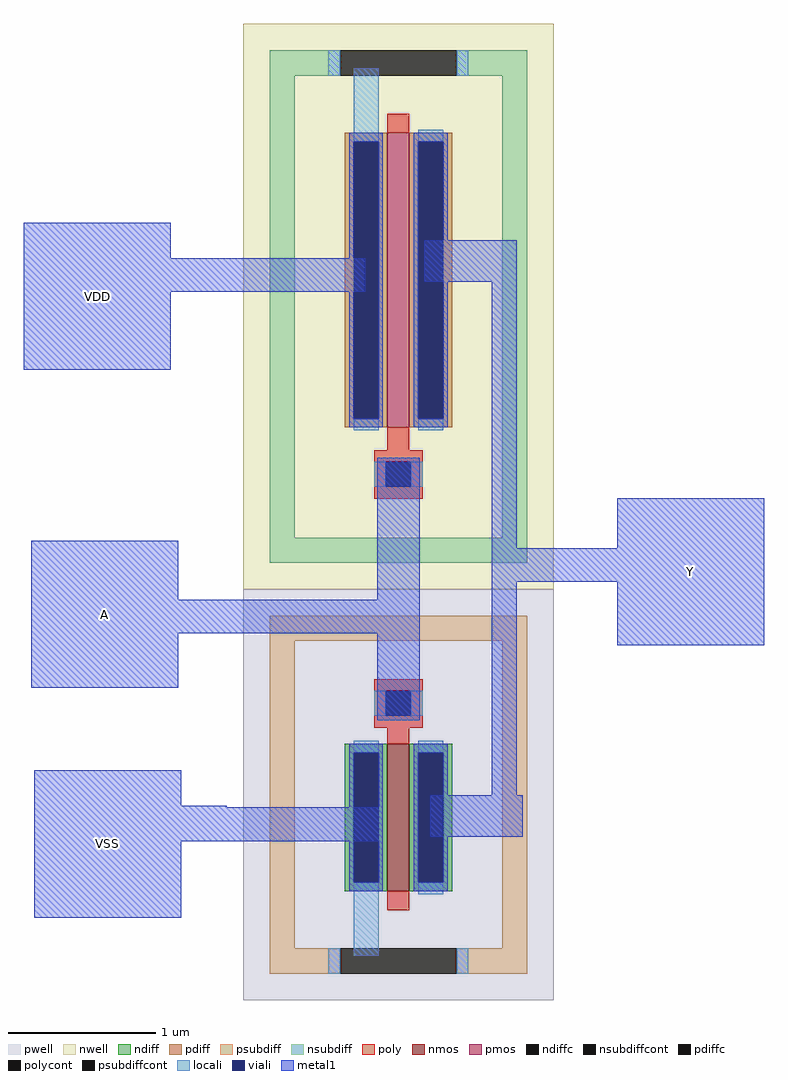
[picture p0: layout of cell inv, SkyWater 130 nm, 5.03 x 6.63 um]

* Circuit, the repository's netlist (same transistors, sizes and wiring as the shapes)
** sch_path: /home/ubuntu/Desktop/design/xschem/inv.sch
.subckt inv A VDD Y VSS
*.PININFO A:B VDD:B Y:B VSS:B
XM1 Y A VSS VSS sky130_fd_pr__nfet_01v8 L=0.15 W=1 nf=1 ad='int((nf+1)/2) * W/nf * 0.29' as='int((nf+2)/2) * W/nf * 0.29'
+ pd='2*int((nf+1)/2) * (W/nf + 0.29)' ps='2*int((nf+2)/2) * (W/nf + 0.29)' nrd='0.29 / W' nrs='0.29 / W'
+ sa=0 sb=0 sd=0 mult=1 m=1
XM2 Y A VDD VDD sky130_fd_pr__pfet_01v8 L=0.15 W=2 nf=1 ad='int((nf+1)/2) * W/nf * 0.29' as='int((nf+2)/2) * W/nf * 0.29'
+ pd='2*int((nf+1)/2) * (W/nf + 0.29)' ps='2*int((nf+2)/2) * (W/nf + 0.29)' nrd='0.29 / W' nrs='0.29 / W'
+ sa=0 sb=0 sd=0 mult=1 m=1
.ends
.end

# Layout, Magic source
magic
tech sky130B
magscale 1 2
<< locali >>
rect 426 976 460 1062
rect 426 -144 460 -58
<< metal1 >>
rect -22 804 178 852
rect -22 758 442 804
rect 522 772 648 828
rect -22 652 178 758
rect -12 340 188 420
rect 458 340 516 530
rect -12 294 516 340
rect -12 220 188 294
rect 458 178 516 294
rect 614 410 648 772
rect 784 410 984 478
rect 614 364 984 410
rect -8 60 192 108
rect 614 74 648 364
rect 784 278 984 364
rect -8 58 254 60
rect -8 12 460 58
rect 530 18 656 74
rect -8 -92 192 12
use sky130_fd_pr__nfet_01v8_NC9KD5  XM1
transform 1 0 487 0 1 75
box -211 -279 211 279
use sky130_fd_pr__pfet_01v8_5A2BE5  XM2
transform 1 0 487 0 1 738
box -211 -384 211 384
<< labels >>
flabel metal1 -22 652 178 852 0 FreeSans 256 0 0 0 VDD
port 1 nsew
flabel metal1 -12 220 188 420 0 FreeSans 256 0 0 0 A
port 0 nsew
flabel metal1 784 278 984 478 0 FreeSans 256 0 0 0 Y
port 2 nsew
flabel metal1 -8 -92 192 108 0 FreeSans 256 0 0 0 VSS
port 3 nsew
<< end >>

# cell sky130_fd_pr__nfet_01v8_NC9KD5: kit device sky130_fd_pr__nfet_01v8, w 1.0 l 0.15 m 1 nf 1 diffcov 100 polycov 50 guard 1 glc 0 grc 0 gtc 0 gbc 1 tbcov 100 rlcov 100 topc 1 botc 0 poverlap 0 doverlap 0 lmin 0.15 wmin 0.42 compatible {sky130_fd_pr__nfet_01v8 sky130_fd_pr__nfet_01v8_lvt sky130_fd_bs_flash__special_sonosfet_star sky130_fd_pr__nfet_g5v0d10v5 sky130_fd_pr__nfet_05v0_nvt sky130_fd_pr__nfet_03v3_nvt} full_metal 0 viasrc 100 viadrn 100 viagate 100 viagb 0 viagr 0 viagl 0 viagt 0

# cell sky130_fd_pr__pfet_01v8_5A2BE5: kit device sky130_fd_pr__pfet_01v8, w 2.0 l 0.15 m 1 nf 1 diffcov 100 polycov 50 guard 1 glc 0 grc 0 gtc 1 gbc 0 tbcov 100 rlcov 100 topc 0 botc 1 poverlap 0 doverlap 0 lmin 0.15 wmin 0.42 compatible {sky130_fd_pr__pfet_01v8 sky130_fd_pr__pfet_01v8_lvt sky130_fd_pr__pfet_01v8_hvt sky130_fd_pr__pfet_g5v0d10v5} full_metal 0 viasrc 100 viadrn 100 viagate 100 viagb 0 viagr 0 viagl 0 viagt 0
